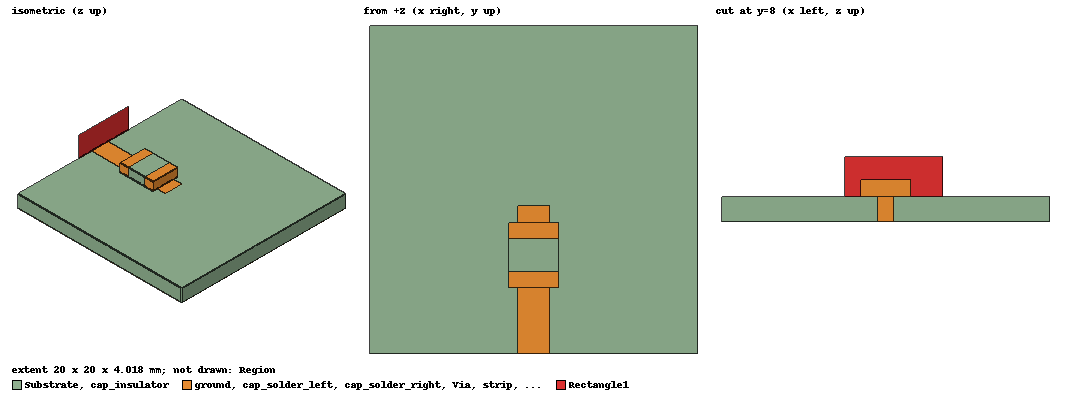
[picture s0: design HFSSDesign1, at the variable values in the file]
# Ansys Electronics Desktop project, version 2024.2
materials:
  vacuum: permittivity=1
  steel_stainless: conductivity=1100000
  copper: permeability=0.999991 conductivity=58000000
  Rogers RO4003 (tm): permittivity=3.55 dielectric_loss_tangent=0.0027
  Al2_O3_ceramic: permittivity=9.8

design HFSSDesign1 (HFSS, HFSS Modal Network, model units mm)
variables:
  sub_L = 20mm
  sub_w = 20mm
  sub_H = 1.524mm
  strip_W = 2mm
  strip_L = 5mm
  strip_end_L = 2mm
  strip_gap = 2mm
  cap_L = 1mm
  cap_W = 3mm
  via_R = 0.5mm
  via_offset = 1mm
  copper_t = 18um
  cap_H = 1mm
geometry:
  Substrate [Rogers RO4003 (tm)] = box(corner=(-sub_w/2, 0mm, 0mm), size=(sub_w, sub_L, sub_H))
  ground [copper] = box(corner=(-sub_w/2, 0mm, 0mm), size=(sub_w, sub_L, -copper_t))
  strip [copper] = box(corner=(-strip_w/2, 0mm, sub_H), size=(strip_W, strip_L, copper_t))
  strip_end [copper] = box(corner=(-strip_w/2, strip_L+strip_gap, sub_H), size=(strip_W, strip_end_L, copper_t))
  cap_solder_left [copper] = box(corner=(-cap_W /2, strip_L-cap_L, sub_H +copper_t), size=(cap_W, cap_L, cap_H))
  cap_insulator [Al2_O3_ceramic] = box(corner=(-cap_W /2, strip_L, sub_H +copper_t), size=(cap_W, strip_gap, cap_H))
  cap_solder_right [copper] = box(corner=(-cap_W /2, strip_L+strip_gap, sub_H +copper_t), size=(cap_W, cap_L, cap_H))
  Via [copper] = cylinder(axis=Z, base_centre=(0mm, strip_L+strip_gap+(strip_end_L/2), 0mm), radius=via_R, height=sub_H)
  Via_1 = Via.copy()
  Substrate.subtract(Via_1)
  Region [vacuum] = region(percentage_offset: +X=50, -X=50, +Y=50, -Y=50, +Z=300, -Z=50)
  Rectangle1 = rectangle(corner=(-3.5mm, 0mm, 0mm), x_size=6mm, y_size=4mm)
  Rectangle1.rotate(axis=X, angle=90deg)
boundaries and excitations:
  Rad1: Radiation Objects=Region
  1: Lumped Port Objects=Rectangle1 LumpedPortType=Modal Modes{Mode1{IntLine{(-0.5, 0, 1.542) -> (-0.5, 0, 0)} CharImp=Zpi RenormImp=50ohm}} Impedance=50ohm
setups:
  Setup2: HfssDriven Frequency=15GHz MaxDeltaS=0.02 MaximumPasses=5 MinimumPasses=1 MinimumConvergedPasses=1 PercentRefinement=30 BasisOrder=1 PortAccuracy=2 DrivenSolverType="Direct Solver"
    sweep Sweep: 1GHz to 15GHz step 1GHz; Type=Discrete SaveFields
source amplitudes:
  1:1: 1W 0deg
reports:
  S Parameter Plot 1: dB(S(1,1)) vs Freq on Setup2 : Sweep; markers m1 at 11GHz
  Z Parameter Plot 1: dB20(Z(1,1)) vs Freq on Setup2 : Sweep
